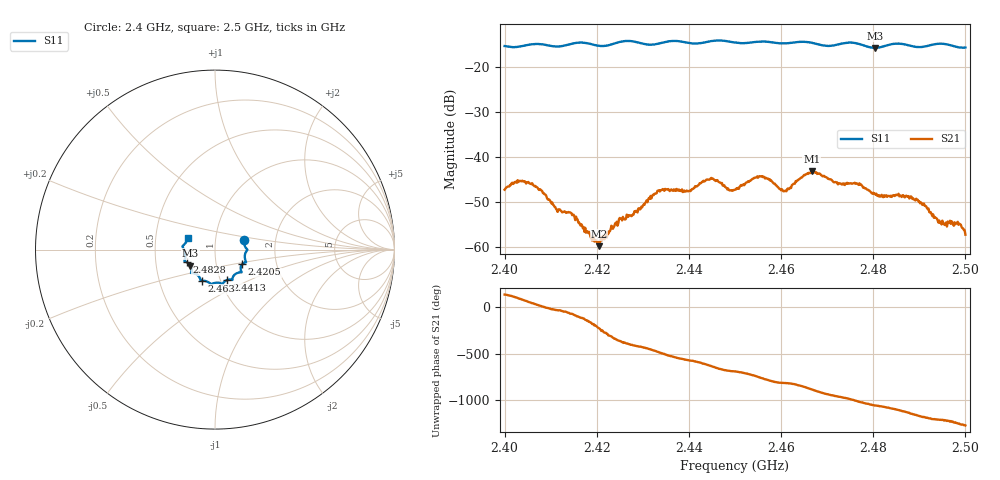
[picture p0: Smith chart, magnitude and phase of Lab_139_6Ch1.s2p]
# Hz S RI R 50
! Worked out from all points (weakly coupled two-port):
!   601 points, 2.4 GHz to 2.5 GHz, reference 50 ohm
!   highest |S21| = -43.16 dB at 2.4667 GHz (marker M1); lowest = -59.8 dB at 2.4205 GHz (marker M2)
!   lowest |S11| = -15.7 dB at 2.4803 GHz (marker M3), VSWR 1.39, Z = 37.4 - j6.83 ohm
!   |S11| at or under -10 dB: start of sweep to end of sweep
!   S12 and S22 are empty: the file has one direction only
!   S11 on the Smith chart (normalised r, x): 2.4 GHz: 1.38, +0.15; 2.4205 GHz: 1.34, -0.22; 2.4413 GHz: 1.08, -0.38; 2.463 GHz: 0.82, -0.29; 2.4828 GHz: 0.72, -0.10; 2.5 GHz: 0.73, +0.10
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2.4e9  0.1628 0.0527  -0.00302 0.00314  0 0  0 0
2.402667e9  0.1657 0.0222  -0.000911 0.00512  0 0  0 0
2.4055e9  0.1781 0.00216  0.00327 0.00389  0 0  0 0
2.416667e9  0.1734 -0.0698  -0.000828 -0.0016  0 0  0 0
2.4205e9  0.1519 -0.0809  -0.000685 0.000767  0 0  0 0
2.433333e9  0.1004 -0.1517  -0.00234 -0.00356  0 0  0 0
2.441333e9  0.0677 -0.1695  -0.00342 0.0033  0 0  0 0
2.444833e9  0.0439 -0.189  0.00055 0.00587  0 0  0 0
2.45e9  0.0247 -0.1856  0.00386 0.00204  0 0  0 0
2.455333e9  -0.0178 -0.1908  0.00497 -0.00364  0 0  0 0
2.460667e9  -0.0524 -0.1753  -0.000496 -0.00419  0 0  0 0
2.463e9  -0.0721 -0.1737  -0.00184 -0.00473  0 0  0 0
2.466667e9  -0.0815 -0.1674  -0.00677 -0.00158  0 0  0 0
2.472667e9  -0.1238 -0.1303  -0.00216 0.00465  0 0  0 0
2.476833e9  -0.1317 -0.1242  0.00229 0.00435  0 0  0 0
2.480333e9  -0.1372 -0.0888  0.00368 0.00142  0 0  0 0
2.482833e9  -0.1585 -0.0701  0.00377 0.00013  0 0  0 0
2.483333e9  -0.1625 -0.0683  0.00371 -0.000106  0 0  0 0
2.489167e9  -0.1644 -0.0333  0.000578 -0.00325  0 0  0 0
2.494333e9  -0.1809 0.0163  -0.00132 -0.00148  0 0  0 0
2.4985e9  -0.1601 0.0435  -0.00176 -0.000207  0 0  0 0
2.5e9  -0.1519 0.0639  -0.00134 0.000317  0 0  0 0
